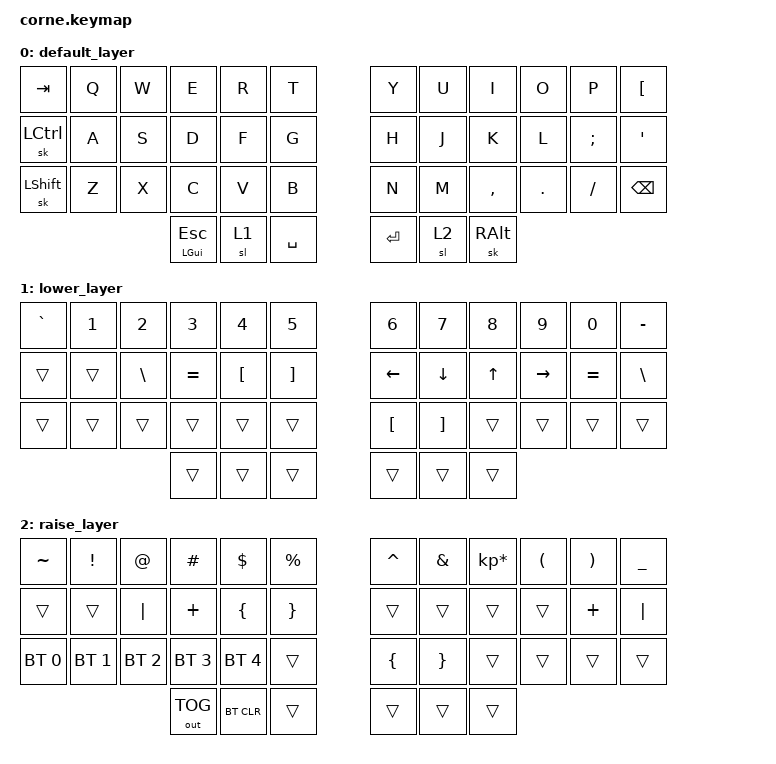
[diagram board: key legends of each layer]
/*
 * Copyright (c) 2020 The ZMK Contributors
 *
 * SPDX-License-Identifier: MIT
 */

#include <behaviors.dtsi>
#include <dt-bindings/zmk/keys.h>
#include <dt-bindings/zmk/bt.h>
#include <dt-bindings/zmk/outputs.h>

&mt {
    tapping-term-ms = <100>;
};

&sk {
    release-after-ms = <250>;
    // quick-release;
};

&sl {
    release-after-ms = <250>;
};


/ {
        keymap {
                compatible = "zmk,keymap";

                default_layer {
// -----------------------------------------------------------------------------------------
// |  TAB |  Q  |  W  |  E  |  R  |  T  |   |  Y  |  U   |  I  |  O  |  P  | [    |
// | CTRL |  A  |  S  |  D  |  F  |  G  |   |  H  |  J   |  K  |  L  |  ;  |  '   |
// | SHFT |  Z  |  X  |  C  |  V  |  B  |   |  N  |  M   |  ,  |  .  |  /  | BKSP |
//                    | GUI | LWR | SPC |   | ENT | RSE  | ALT |
                        bindings = <
   &kp TAB   &kp Q &kp W &kp E &kp R &kp T   &kp Y &kp U  &kp I     &kp O   &kp P    &kp LBKT
   &sk LCTRL &kp A &kp S &kp D &kp F &kp G   &kp H &kp J  &kp K     &kp L   &kp SEMI &kp SQT
   &sk LSHFT &kp Z &kp X &kp C &kp V &kp B   &kp N &kp M  &kp COMMA &kp DOT &kp FSLH &kp BSPC
                  &mt LGUI ESC &sl 1 &kp SPACE   &kp RET &sl 2 &sk RALT
                        >;
                };
                lower_layer {
// -----------------------------------------------------------------------------------------
// |   `  |  1  |  2  |  3  |  4  |  5  |   |  6  |  7  |  8  |  9  |  0  | -    |
// |      |     |  \  |  =  |  [  |  ]  |   | LFT | DWN |  UP | RGT |  =  |  \   |
// |      |     |     |     |     |     |   |  [  |  ]  |     |     |     |      |
//                    |     |     |     |   |     |     |     |
                        bindings = <
   &kp GRAVE    &kp N1       &kp N2       &kp N3       &kp N4       &kp N5       &kp N6     &kp N7    &kp N8  &kp N9     &kp N0     &kp MINUS
   &trans       &trans       &kp BSLH     &kp EQUAL    &kp LBKT     &kp RBKT     &kp LEFT   &kp DOWN  &kp UP  &kp RIGHT  &kp EQUAL  &kp BSLH
   &trans       &trans       &trans       &trans       &trans       &trans       &kp LBKT   &kp RBKT  &trans  &trans     &trans     &trans
                                          &trans       &trans       &trans       &trans     &trans    &trans
                        >;
                };

                raise_layer {
// -----------------------------------------------------------------------------------------
// |  ~ |  !  |  @  |  #  |  $  |  %  |   |  ^  |  &  |  *  |  (  |  )  |  _   |
// |    |     |  |  |  +  |  {  |  }  |   |     |     |     |     |  +  |  |   |
// |    |     |     |     |     |     |   |  {  |  }  |     |     |     |      |
//                  |     |     |     |   |     |     |     |
                        bindings = <
   &kp TILDE     &kp EXCL     &kp AT        &kp HASH      &kp DLLR      &kp PRCNT    &kp CARET  &kp AMPS  &kp KP_MULTIPLY  &kp LPAR   &kp RPAR   &kp UNDER
   &trans        &trans       &kp PIPE      &kp PLUS      &kp LBRC      &kp RBRC     &trans     &trans    &trans           &trans     &kp PLUS   &kp PIPE
   &bt BT_SEL 0  &bt BT_SEL 1 &bt BT_SEL 2  &bt BT_SEL 3  &bt BT_SEL 4  &trans       &kp LBRC   &kp RBRC  &trans           &trans     &trans     &trans
                                            &out OUT_TOG  &bt BT_CLR    &trans       &trans     &trans    &trans
                        >;
                };
        };
};
